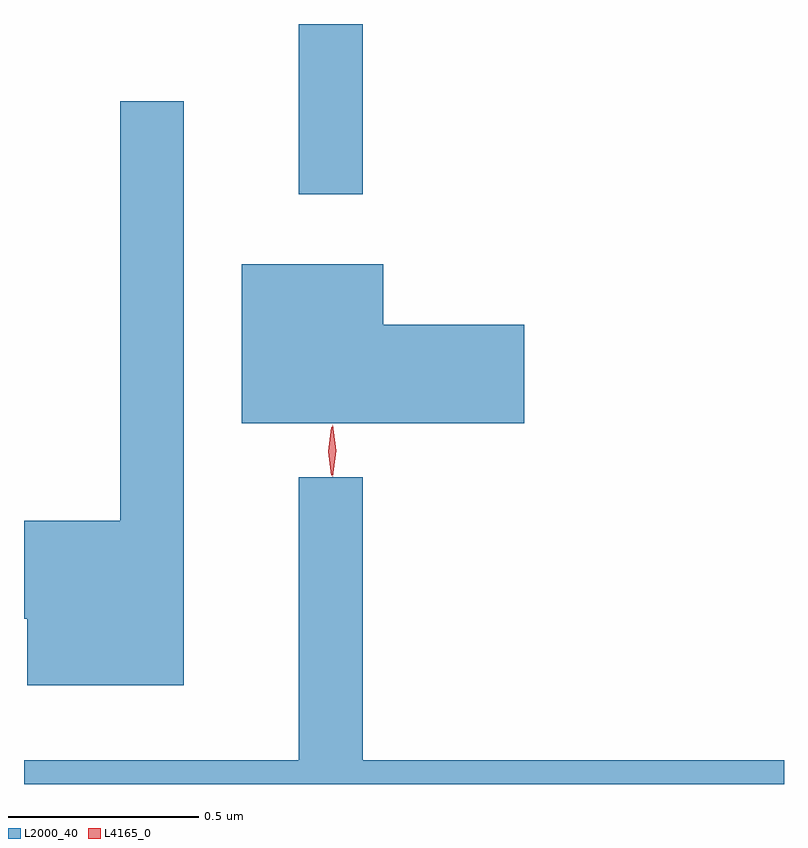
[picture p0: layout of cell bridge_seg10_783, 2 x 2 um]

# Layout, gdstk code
import gdstk
lib = gdstk.Library(unit=1e-6, precision=1e-09)
def R(c, l, rs):  # rectangles x0, y0, x1, y1
    for r in rs: c.add(gdstk.rectangle(r[:2], r[2:], *l))
def P(c, l, *ps):  # polygons
    for p in ps: c.add(gdstk.Polygon(p, *l))
L2000_40 = (2000, 40)
L4165_0 = (4165, 0)

bridge_seg10_783 = lib.new_cell('bridge_seg10_783')
R(bridge_seg10_783, L2000_40, [(510.901,2186.713,511.069,2187.161)])
P(bridge_seg10_783, L2000_40, [(510.599,2186.958),(510.431,2186.958),(510.431,2185.854),(510.178,2185.854),(510.178,2185.596),(510.186,2185.596),(510.186,2185.421),(510.599,2185.421)],
  [(511.494,2186.369),(511.124,2186.369),(511.124,2186.529),(510.751,2186.529),(510.751,2186.111),(511.494,2186.111)],
  [(512.178,2185.224),(511.069,2185.224),(511.069,2185.968),(510.901,2185.968),(510.901,2185.224),(510.178,2185.224),(510.178,2185.161),(512.178,2185.161)])
P(bridge_seg10_783, L4165_0, [(510.99,2185.97),(510.99,2185.97),(510.98,2186.038),(510.99,2186.106),(510.99,2186.106),(510.991,2186.106),(511,2186.038),(510.991,2185.97)],
  [(510.988,2185.973),(510.987,2185.974),(510.978,2186.036),(510.987,2186.1),(510.988,2186.1),(510.988,2186.1),(510.998,2186.036),(510.988,2185.974)])

lib.write_gds('bridge_seg10_783.gds')
